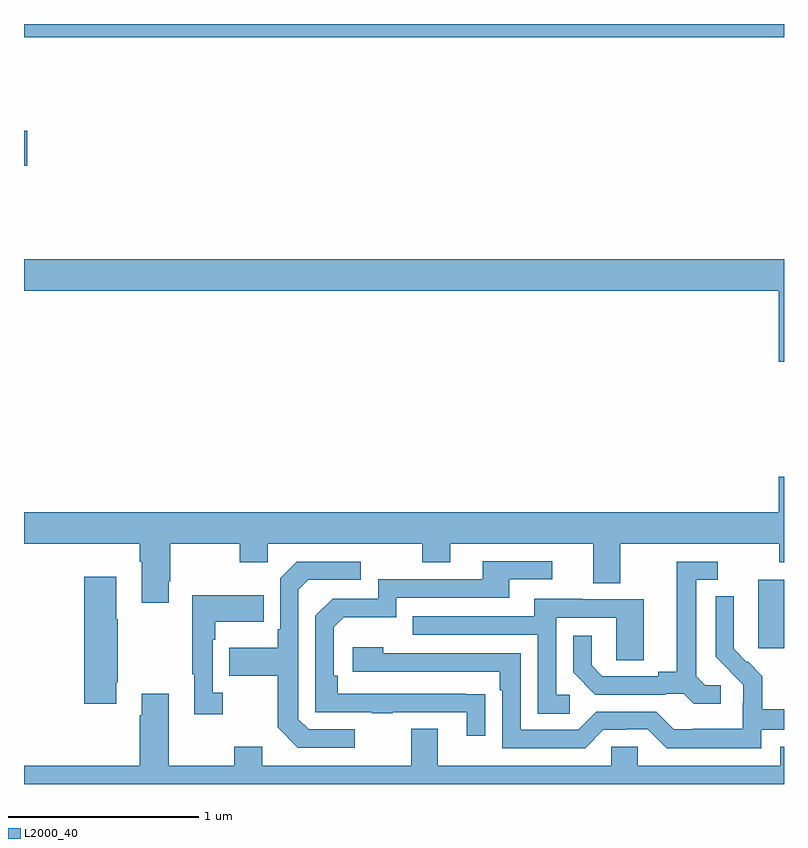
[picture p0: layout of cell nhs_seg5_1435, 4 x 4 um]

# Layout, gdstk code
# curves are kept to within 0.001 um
import gdstk
lib = gdstk.Library(unit=1e-6, precision=1e-09)
def R(c, l, rs):  # rectangles x0, y0, x1, y1
    for r in rs: c.add(gdstk.rectangle(r[:2], r[2:], *l))
def P(c, l, *ps):  # polygons
    for p in ps: c.add(gdstk.Polygon(p, *l))
L2000_40 = (2000, 40)

nhs_seg5_1435 = lib.new_cell('nhs_seg5_1435')
R(nhs_seg5_1435, L2000_40, [(200.864,885.513,201,885.874), (197,888.053,197.017,888.236), (197,888.728,201,888.799)])
P(nhs_seg5_1435, L2000_40, [(201,887.56),(197,887.56),(197,887.396),(200.972,887.396),(200.972,887.022),(201,887.022)],
  [(197,886.064),(197.609,886.064),(197.609,885.968),(197.621,885.968),(197.621,885.753),(197.761,885.753),(197.761,885.865),(197.769,885.865),(197.769,886.064),(198.136,886.064),(198.136,885.965),(198.282,885.965),(198.282,886.064),(199.096,886.064),(199.096,885.965),(199.243,885.965),(199.243,886.064),(199.997,886.064),(199.997,885.856),(200.137,885.856),(200.137,886.064),(200.974,886.064),(200.974,885.965),(201,885.965),(201,886.417),(200.972,886.417),(200.972,886.228),(197,886.228)],
  [(199.427,885.272),(198.65,885.273),(198.65,885.37),(198.63,885.37),(198.63,885.624),(198.683,885.677),(198.96,885.677),(198.96,885.78),(199.555,885.78),(199.555,885.876),(199.78,885.876),(199.78,885.972),(199.415,885.972),(199.415,885.876),(198.864,885.876),(198.864,885.774),(198.624,885.774),(198.534,885.684),(198.534,885.177),(198.829,885.177),(198.829,885.172),(198.941,885.172),(198.941,885.177),(199.331,885.177),(199.331,885.054),(199.427,885.054)],
  [(198.742,885.087),(198.498,885.087),(198.444,885.141),(198.444,885.822),(198.495,885.873),(198.772,885.873),(198.772,885.969),(198.435,885.969),(198.348,885.882),(198.348,885.613),(198.336,885.613),(198.336,885.517),(198.079,885.517),(198.079,885.37),(198.336,885.37),(198.336,885.097),(198.441,884.991),(198.742,884.991)],
  [(200.668,885.318),(200.586,885.318),(200.539,885.365),(200.539,885.873),(200.65,885.873),(200.65,885.969),(200.435,885.969),(200.435,885.389),(200.339,885.389),(200.339,885.366),(200.044,885.366),(199.987,885.423),(199.987,885.58),(199.89,885.58),(199.89,885.386),(200.006,885.27),(200.378,885.27),(200.378,885.273),(200.472,885.273),(200.524,885.221),(200.668,885.221)],
  [(197.485,885.334),(197.493,885.334),(197.493,885.665),(197.485,885.665),(197.485,885.889),(197.318,885.889),(197.318,885.222),(197.485,885.222)],
  [(198.046,885.278),(197.994,885.278),(197.994,885.557),(198.007,885.557),(198.007,885.653),(198.263,885.653),(198.263,885.793),(197.886,885.793),(197.886,885.377),(197.897,885.377),(197.897,885.165),(198.046,885.165)],
  [(200.88,885.084),(201,885.084),(201,885.193),(200.885,885.193),(200.885,885.367),(200.808,885.444),(200.805,885.441),(200.735,885.512),(200.736,885.788),(200.64,885.788),(200.64,885.47),(200.786,885.322),(200.786,885.225),(200.784,885.225),(200.784,885.091),(200.521,885.091),(200.521,885.087),(200.421,885.087),(200.328,885.18),(200.013,885.18),(199.917,885.084),(199.614,885.084),(199.614,885.486),(198.89,885.486),(198.89,885.52),(198.729,885.52),(198.729,885.39),(199.505,885.39),(199.505,885.293),(199.518,885.293),(199.518,884.988),(199.953,884.988),(200.049,885.084),(200.168,885.084),(200.168,885.087),(200.283,885.087),(200.383,884.987),(200.88,884.987)],
  [(199.873,885.27),(199.8,885.27),(199.8,885.675),(200.118,885.675),(200.118,885.451),(200.263,885.451),(200.263,885.771),(199.939,885.771),(199.939,885.775),(199.685,885.775),(199.685,885.681),(199.045,885.681),(199.045,885.585),(199.704,885.585),(199.704,885.169),(199.873,885.169)],
  [(201,884.995),(200.981,884.995),(200.981,884.896),(200.229,884.896),(200.229,884.994),(200.091,884.994),(200.091,884.896),(199.177,884.896),(199.177,885.091),(199.037,885.091),(199.037,884.896),(198.253,884.896),(198.253,884.995),(198.106,884.995),(198.106,884.896),(197.761,884.896),(197.761,885.274),(197.621,885.274),(197.621,885.161),(197.609,885.161),(197.609,884.896),(197,884.896),(197,884.799),(201,884.799)])

lib.write_gds('nhs_seg5_1435.gds')
